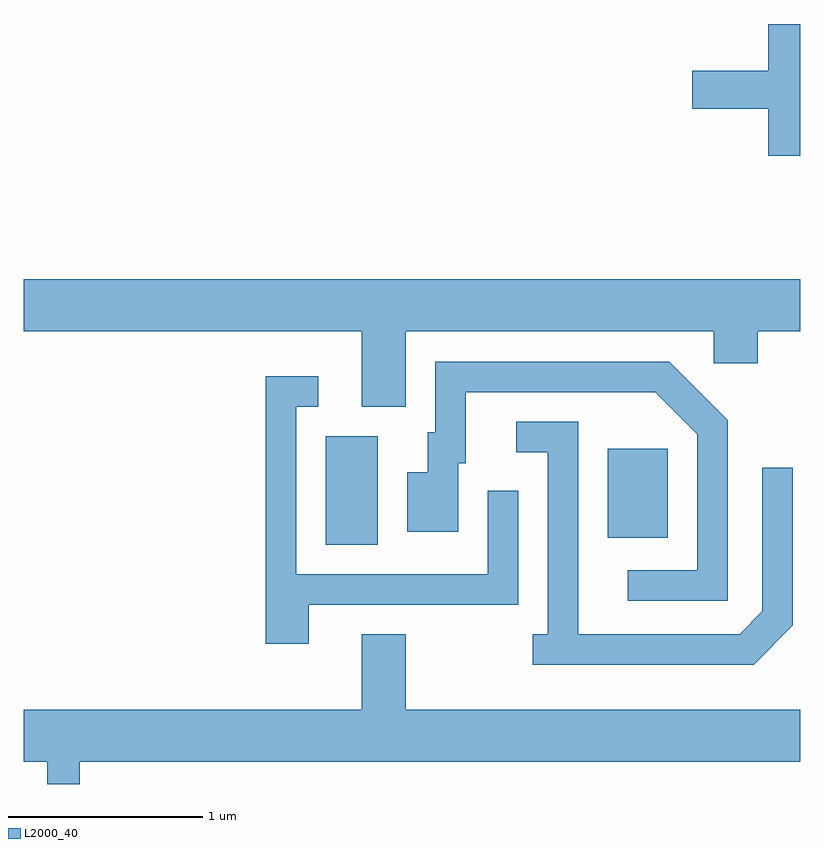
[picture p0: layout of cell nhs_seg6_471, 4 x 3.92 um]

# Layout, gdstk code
import gdstk
lib = gdstk.Library(unit=1e-6, precision=1e-09)
def R(c, l, rs):  # rectangles x0, y0, x1, y1
    for r in rs: c.add(gdstk.rectangle(r[:2], r[2:], *l))
def P(c, l, *ps):  # polygons
    for p in ps: c.add(gdstk.Polygon(p, *l))
L2000_40 = (2000, 40)

nhs_seg6_471 = lib.new_cell('nhs_seg6_471')
R(nhs_seg6_471, L2000_40, [(201.166,1533.396,201.434,1533.954), (202.621,1533.431,202.929,1533.889)])
P(nhs_seg6_471, L2000_40, [(203.611,1536.079),(203.446,1536.079),(203.446,1535.839),(203.056,1535.839),(203.056,1535.641),(203.446,1535.641),(203.446,1535.401),(203.611,1535.401)],
  [(201.579,1534.496),(203.166,1534.496),(203.166,1534.331),(203.394,1534.331),(203.394,1534.496),(203.611,1534.496),(203.611,1534.764),(199.611,1534.764),(199.611,1534.496),(201.351,1534.496),(201.351,1534.106),(201.579,1534.106)],
  [(203.239,1534.037),(202.937,1534.339),(201.731,1534.339),(201.731,1533.974),(201.691,1533.974),(201.691,1533.769),(201.586,1533.769),(201.586,1533.461),(201.849,1533.461),(201.849,1533.816),(201.889,1533.816),(201.889,1534.181),(202.864,1534.181),(203.081,1533.964),(203.081,1533.264),(202.723,1533.264),(202.723,1533.106),(203.239,1533.106)],
  [(201.079,1533.086),(202.159,1533.086),(202.159,1533.673),(202.001,1533.673),(202.001,1533.244),(201.014,1533.244),(201.014,1534.106),(201.128,1534.106),(201.128,1534.264),(200.856,1534.264),(200.856,1532.886),(201.079,1532.886)],
  [(203.574,1532.979),(203.574,1533.793),(203.416,1533.793),(203.416,1533.052),(203.299,1532.934),(202.469,1532.934),(202.469,1534.029),(202.148,1534.029),(202.148,1533.871),(202.311,1533.871),(202.311,1532.934),(202.233,1532.934),(202.233,1532.776),(203.372,1532.776)],
  [(199.899,1532.276),(203.611,1532.276),(203.611,1532.544),(201.579,1532.544),(201.579,1532.934),(201.351,1532.934),(201.351,1532.544),(199.611,1532.544),(199.611,1532.276),(199.731,1532.276),(199.731,1532.162),(199.899,1532.162)])

lib.write_gds('nhs_seg6_471.gds')
